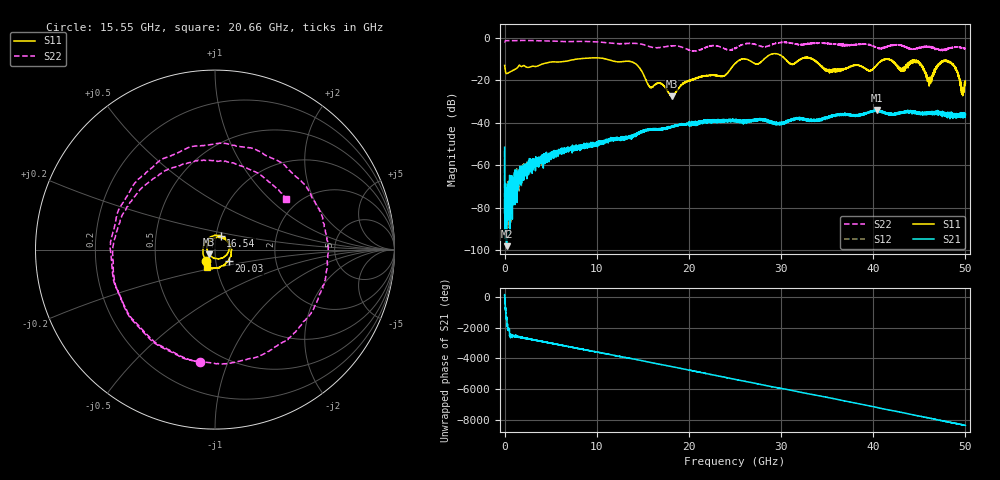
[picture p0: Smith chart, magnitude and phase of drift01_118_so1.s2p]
!Created with skrf (http://scikit-rf.org).
# Hz S RI R 50.0
!freq ReS11 ImS11 ReS21 ImS21 ReS12 ImS12 ReS22 ImS22
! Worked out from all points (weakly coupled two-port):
!   10001 points, 300 kHz to 50 GHz, reference 50 ohm
!   highest |S21| = -34.00 dB at 40.37 GHz (marker M1); lowest = -98.1 dB at 215.3 MHz (marker M2)
!   lowest |S11| = -27.6 dB at 18.11 GHz (marker M3), VSWR 1.09, Z = 46.8 - j2.46 ohm
!   |S11| at or under -10 dB: 10.91 GHz to 25.87 GHz (14.96 GHz wide, 81.3 % of centre); 33.37 GHz to 41.54 GHz (8.17 GHz wide, 21.8 % of centre); 41.56 GHz to end of sweep (the widest 3 of 11)
!   |S22| runs from -6.3 to -1.4 dB; largest |S21 - S12| = 0.0036
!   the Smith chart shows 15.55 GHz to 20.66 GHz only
!   S11 on the Smith chart (normalised r, x): 15.55 GHz: 0.90, -0.11; 16.54 GHz: 1.05, +0.17; 20.03 GHz: 1.15, -0.15; 20.66 GHz: 0.90, -0.18
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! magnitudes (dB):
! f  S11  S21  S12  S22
! 300 kHz  -13.1  -51.6  -53.3  -2.1
! 215.3 MHz  -16.9  -98.1  -75.9  -1.4
! 3.085 GHz  -13.5  -59.6  -59.0  -1.4
! 8.335 GHz  -9.9  -52.6  -51.6  -1.8
! 13.88 GHz  -11.5  -46.2  -46.3  -2.7
! 15.55 GHz  -22.0  -43.1  -43.6  -4.0
! 16.54 GHz  -21.5  -43.2  -43.2  -4.8
! 16.67 GHz  -21.4  -43.1  -43.0  -4.8
! 18.11 GHz  -27.6  -42.2  -42.1  -4.0
! 20.03 GHz  -20.1  -40.6  -40.9  -5.9
! 20.66 GHz  -19.4  -39.9  -39.9  -6.3
! 23.78 GHz  -18.1  -39.3  -39.5  -5.0
! 25 GHz  -12.2  -39.1  -38.9  -5.0
! 33.34 GHz  -10.0  -39.0  -38.7  -2.6
! 35.25 GHz  -15.4  -37.5  -37.3  -2.9
! 40.37 GHz  -12.9  -34.0  -34.5  -4.7
! 41.67 GHz  -10.2  -35.7  -36.1  -4.0
! 43.07 GHz  -15.4  -35.3  -35.0  -3.6
! 44.82 GHz  -11.6  -35.2  -35.3  -5.0
! 46.11 GHz  -20.6  -35.3  -35.4  -4.7
! 48.07 GHz  -11.2  -36.5  -36.1  -5.3
! 50 GHz  -21.5  -35.9  -36.1  -5.4
